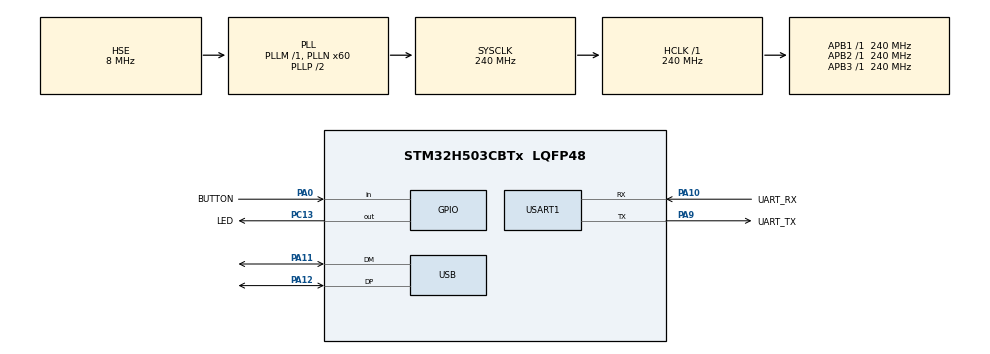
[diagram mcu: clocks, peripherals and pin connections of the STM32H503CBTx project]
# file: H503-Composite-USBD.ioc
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BOOTPATH.BootPathName=LEGACY
BOOTPATH.UserSelectedBootPath=LEGACY
CORTEX_M33_NS.AccessPermission-Cortex_Memory_Protection_Unit_Region0_Settings=MPU_REGION_PRIV_RO
CORTEX_M33_NS.AllocateAttribute-Cortex_Memory_Protection_Unit_Region0_Settings=MPU_R_ALLOCATE
CORTEX_M33_NS.AllocateAttribute-Cortex_Memory_Protection_Unit_Region1_Settings=MPU_RW_ALLOCATE
CORTEX_M33_NS.AttributesIndex-Cortex_Memory_Protection_Unit_Region1_Settings=MPU_ATTRIBUTES_NUMBER1
CORTEX_M33_NS.BaseAddress-Cortex_Memory_Protection_Unit_Region0_Settings=0x08000000
CORTEX_M33_NS.BaseAddress-Cortex_Memory_Protection_Unit_Region1_Settings=0x20000000
CORTEX_M33_NS.CacheableAttribute-Cortex_Memory_Protection_Unit_Region1_Settings=MPU_WRITE_BACK
CORTEX_M33_NS.Enable-Cortex_Memory_Protection_Unit_Region0_Settings=MPU_REGION_ENABLE
CORTEX_M33_NS.Enable-Cortex_Memory_Protection_Unit_Region1_Settings=MPU_REGION_ENABLE
CORTEX_M33_NS.LimitAddress-Cortex_Memory_Protection_Unit_Region0_Settings=0x0801FFFF
CORTEX_M33_NS.LimitAddress-Cortex_Memory_Protection_Unit_Region1_Settings=0x20007FFF
CORTEX_M33_NS.MPU_Control=__NULL
CORTEX_M33_NS.Number-Cortex_Memory_Protection_Unit_Region1_Settings=MPU_REGION_NUMBER1
Mcu.Family=STM32H5
Mcu.Name=STM32H503CBTx
Mcu.Package=LQFP48
NVIC.PriorityGroup=NVIC_PRIORITYGROUP_4
NVIC.USB_DRD_FS_IRQn=true\:0\:0\:false\:false\:true\:true\:true\:true
PA0.GPIO_Label=BUTTON
PA0.GPIO_PuPd=GPIO_PULLUP
PA0.Signal=GPIO_Input
PA10.GPIO_Label=UART_RX
PA10.GPIO_PuPd=GPIO_PULLUP
PA10.GPIO_Speed=GPIO_SPEED_FREQ_HIGH
PA10.Mode=Asynchronous
PA10.Signal=USART1_RX
PA11.Mode=Device
PA11.Signal=USB_DM
PA12.Mode=Device
PA12.Signal=USB_DP
PA13(JTMS/SWDIO).Mode=Serial_Wire
PA13(JTMS/SWDIO).Signal=DEBUG_JTMS-SWDIO
PA14(JTCK/SWCLK).Mode=Serial_Wire
PA14(JTCK/SWCLK).Signal=DEBUG_JTCK-SWCLK
PA9.GPIO_Label=UART_TX
PA9.GPIO_Speed=GPIO_SPEED_FREQ_HIGH
PA9.Mode=Asynchronous
PA9.Signal=USART1_TX
PC13.GPIO_Label=LED
PC13.GPIO_ModeDefaultOutputPP=GPIO_MODE_OUTPUT_OD
PC13.GPIO_PuPd=GPIO_NOPULL
PC13.Signal=GPIO_Output
PH0-OSC_IN(PH0).Mode=HSE-External-Oscillator
PH0-OSC_IN(PH0).Signal=RCC_OSC_IN
PH1-OSC_OUT(PH1).Mode=HSE-External-Oscillator
PH1-OSC_OUT(PH1).Signal=RCC_OSC_OUT
ProjectManager.HeapSize=0x0
ProjectManager.StackSize=0x400
ProjectManager.TargetToolchain=STM32CubeIDE
RCC.ADCFreq_Value=240000000
RCC.AHBFreq_Value=240000000
RCC.APB1Freq_Value=240000000
RCC.APB1TimFreq_Value=240000000
RCC.APB2Freq_Value=240000000
RCC.APB2TimFreq_Value=240000000
RCC.APB3Freq_Value=240000000
RCC.CSI_VALUE=4000000
RCC.CortexFreq_Value=240000000
RCC.EPOD_VALUE=8000000
RCC.HCLKFreq_Value=240000000
RCC.HSE_VALUE=8000000
RCC.HSI48_VALUE=48000000
RCC.HSI_VALUE=64000000
RCC.LSE_VALUE=32768
RCC.LSIRC_VALUE=32000
RCC.PLL1Q=10
RCC.PLLFRACN=0
RCC.PLLN=60
RCC.PLLSourceVirtual=RCC_PLL1_SOURCE_HSE
RCC.SYSCLKFreq_VALUE=240000000
RCC.SYSCLKSource=RCC_SYSCLKSOURCE_PLLCLK
RCC.USBFreq_Value=48000000
RCC.VCOOutputFreq_Value=480000000
USART1.VirtualMode-Asynchronous=VM_ASYNC
USB.VirtualMode=Device_Only
VP_BOOTPATH_VS_BOOTPATH.Mode=BP_Activate
VP_CORTEX_M33_NS_VS_Hclk.Mode=Hclk_Mode
VP_MEMORYMAP_VS_MEMORYMAP.Mode=CurAppReg
VP_PWR_VS_DBSignals.Mode=DisableDeadBatterySignals
VP_PWR_VS_LPOM.Mode=PowerOptimisation
VP_PWR_VS_SECSignals.Mode=Security/Privilege
board=custom

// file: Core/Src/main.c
/* USER CODE BEGIN Header */
/**
 ******************************************************************************
 * @file           : main.c
 * @brief          : Main program body
 ******************************************************************************
 * @attention
 *
 * Copyright (c) 2024 STMicroelectronics.
 * All rights reserved.
 *
 * This software is licensed under terms that can be found in the LICENSE file
 * in the root directory of this software component.
 * If no LICENSE file comes with this software, it is provided AS-IS.
 *
 ******************************************************************************
 */
/* USER CODE END Header */
#include "main.h"

/* USER CODE BEGIN Includes */

#include "usbd_core.h"
#include "usbd_cdc.h"
#include "usbd_cdc_if.h"
#include "usbd_hid.h"
#include "usbd_desc.h"
#include "usbd_composite_builder.h"

/* USER CODE END Includes */

UART_HandleTypeDef huart1;

PCD_HandleTypeDef hpcd_USB_DRD_FS;

/* USER CODE BEGIN PV */
uint8_t CDC_EpAdd_Inst[3] = { CDC_IN_EP, CDC_OUT_EP, CDC_CMD_EP }; /* CDC Endpoint Addresses array */
uint8_t HID_EpAdd_Inst = HID_EPIN_ADDR; /* HID Endpoint Address array */

USBD_HandleTypeDef hUsbDeviceFS;
uint8_t hid_report_buffer[4];
uint8_t HID_InstID = 0, CDC_InstID = 0;

/* USER CODE END PV */

void SystemClock_Config(void);
static void MX_GPIO_Init(void);
static void MX_USB_PCD_Init(void);
static void MX_USART1_UART_Init(void);
/* USER CODE BEGIN PFP */

void MX_USB_PCD_InitEx(void)
{
	MX_USB_PCD_Init();
}

/* USER CODE END PFP */

int main(void)
{

  /* MCU Configuration--------------------------------------------------------*/

  /* Reset of all peripherals, Initializes the Flash interface and the Systick. */
  HAL_Init();

  /* Configure the system clock */
  SystemClock_Config();

  /* Initialize all configured peripherals */
  MX_GPIO_Init();
  MX_USART1_UART_Init();
  /* USER CODE BEGIN 2 */

	/* Initialize the USB Device Library */
	if (USBD_Init(&hUsbDeviceFS, &Class_Desc, 0) != USBD_OK)
		Error_Handler();

	/* Store HID Instance Class ID */
	HID_InstID = hUsbDeviceFS.classId;

	/* Register the HID Class */
	if (USBD_RegisterClassComposite(&hUsbDeviceFS, USBD_HID_CLASS, CLASS_TYPE_HID, &HID_EpAdd_Inst) != USBD_OK)
		Error_Handler();

	/* Store the HID Class */
	CDC_InstID = hUsbDeviceFS.classId;

	/* Register CDC Class First Instance */
	if (USBD_RegisterClassComposite(&hUsbDeviceFS, USBD_CDC_CLASS, CLASS_TYPE_CDC, CDC_EpAdd_Inst) != USBD_OK)
		Error_Handler();

	/* Add CDC Interface Class */
	if (USBD_CMPSIT_SetClassID(&hUsbDeviceFS, CLASS_TYPE_CDC, 0) != 0xFF)
	{
		USBD_CDC_RegisterInterface(&hUsbDeviceFS, &USBD_CDC_Template_fops);
	}

	USBD_Start(&hUsbDeviceFS);

  /* USER CODE END 2 */

  /* Infinite loop */
  /* USER CODE BEGIN WHILE */

#define LED_TIMER_MS	2000
	uint32_t led_timer = 0;

	hid_report_buffer[0] = 0;
	hid_report_buffer[1] = 100;
	hid_report_buffer[2] = 0;
	hid_report_buffer[3] = 0;

	for (;;)
	{
		if ((HAL_GetTick() - led_timer) >= LED_TIMER_MS)
		{
			led_timer = HAL_GetTick();
			HAL_GPIO_TogglePin(LED_GPIO_Port, LED_Pin);

			// Send HID message
			// USBD_HID_SendReport(&hUsbDeviceFS, hid_report_buffer, 4, HID_InstID);
		}
		USBD_CDC_TransmitPacket(&hUsbDeviceFS, CDC_InstID);

    /* USER CODE END WHILE */

	}
}

void SystemClock_Config(void)
{
  RCC_OscInitTypeDef RCC_OscInitStruct = {0};
  RCC_ClkInitTypeDef RCC_ClkInitStruct = {0};

  /** Configure the main internal regulator output voltage
  */
  __HAL_PWR_VOLTAGESCALING_CONFIG(PWR_REGULATOR_VOLTAGE_SCALE0);

  while(!__HAL_PWR_GET_FLAG(PWR_FLAG_VOSRDY)) {}

  /** Initializes the RCC Oscillators according to the specified parameters
  * in the RCC_OscInitTypeDef structure.
  */
  RCC_OscInitStruct.OscillatorType = RCC_OSCILLATORTYPE_HSI48|RCC_OSCILLATORTYPE_HSE;
  RCC_OscInitStruct.HSEState = RCC_HSE_ON;
  RCC_OscInitStruct.HSI48State = RCC_HSI48_ON;
  RCC_OscInitStruct.PLL.PLLState = RCC_PLL_ON;
  RCC_OscInitStruct.PLL.PLLSource = RCC_PLL1_SOURCE_HSE;
  RCC_OscInitStruct.PLL.PLLM = 1;
  RCC_OscInitStruct.PLL.PLLN = 60;
  RCC_OscInitStruct.PLL.PLLP = 2;
  RCC_OscInitStruct.PLL.PLLQ = 10;
  RCC_OscInitStruct.PLL.PLLR = 2;
  RCC_OscInitStruct.PLL.PLLRGE = RCC_PLL1_VCIRANGE_3;
  RCC_OscInitStruct.PLL.PLLVCOSEL = RCC_PLL1_VCORANGE_WIDE;
  RCC_OscInitStruct.PLL.PLLFRACN = 0;
  if (HAL_RCC_OscConfig(&RCC_OscInitStruct) != HAL_OK)
  {
    Error_Handler();
  }

  /** Initializes the CPU, AHB and APB buses clocks
  */
  RCC_ClkInitStruct.ClockType = RCC_CLOCKTYPE_HCLK|RCC_CLOCKTYPE_SYSCLK
                              |RCC_CLOCKTYPE_PCLK1|RCC_CLOCKTYPE_PCLK2
                              |RCC_CLOCKTYPE_PCLK3;
  RCC_ClkInitStruct.SYSCLKSource = RCC_SYSCLKSOURCE_PLLCLK;
  RCC_ClkInitStruct.AHBCLKDivider = RCC_SYSCLK_DIV1;
  RCC_ClkInitStruct.APB1CLKDivider = RCC_HCLK_DIV1;
  RCC_ClkInitStruct.APB2CLKDivider = RCC_HCLK_DIV1;
  RCC_ClkInitStruct.APB3CLKDivider = RCC_HCLK_DIV1;

  if (HAL_RCC_ClockConfig(&RCC_ClkInitStruct, FLASH_LATENCY_5) != HAL_OK)
  {
    Error_Handler();
  }

  /** Configure the programming delay
  */
  __HAL_FLASH_SET_PROGRAM_DELAY(FLASH_PROGRAMMING_DELAY_2);
}

static void MX_USART1_UART_Init(void)
{

  huart1.Instance = USART1;
  huart1.Init.BaudRate = 115200;
  huart1.Init.WordLength = UART_WORDLENGTH_8B;
  huart1.Init.StopBits = UART_STOPBITS_1;
  huart1.Init.Parity = UART_PARITY_NONE;
  huart1.Init.Mode = UART_MODE_TX_RX;
  huart1.Init.HwFlowCtl = UART_HWCONTROL_NONE;
  huart1.Init.OverSampling = UART_OVERSAMPLING_16;
  huart1.Init.OneBitSampling = UART_ONE_BIT_SAMPLE_DISABLE;
  huart1.Init.ClockPrescaler = UART_PRESCALER_DIV1;
  huart1.AdvancedInit.AdvFeatureInit = UART_ADVFEATURE_NO_INIT;
  if (HAL_UART_Init(&huart1) != HAL_OK)
  {
    Error_Handler();
  }
  if (HAL_UARTEx_SetTxFifoThreshold(&huart1, UART_TXFIFO_THRESHOLD_1_8) != HAL_OK)
  {
    Error_Handler();
  }
  if (HAL_UARTEx_SetRxFifoThreshold(&huart1, UART_RXFIFO_THRESHOLD_1_8) != HAL_OK)
  {
    Error_Handler();
  }
  if (HAL_UARTEx_DisableFifoMode(&huart1) != HAL_OK)
  {
    Error_Handler();
  }

}

static void MX_USB_PCD_Init(void)
{

  hpcd_USB_DRD_FS.Instance = USB_DRD_FS;
  hpcd_USB_DRD_FS.Init.dev_endpoints = 8;
  hpcd_USB_DRD_FS.Init.speed = USBD_FS_SPEED;
  hpcd_USB_DRD_FS.Init.phy_itface = PCD_PHY_EMBEDDED;
  hpcd_USB_DRD_FS.Init.Sof_enable = DISABLE;
  hpcd_USB_DRD_FS.Init.low_power_enable = DISABLE;
  hpcd_USB_DRD_FS.Init.lpm_enable = DISABLE;
  hpcd_USB_DRD_FS.Init.battery_charging_enable = DISABLE;
  hpcd_USB_DRD_FS.Init.vbus_sensing_enable = DISABLE;
  hpcd_USB_DRD_FS.Init.bulk_doublebuffer_enable = DISABLE;
  hpcd_USB_DRD_FS.Init.iso_singlebuffer_enable = DISABLE;
  if (HAL_PCD_Init(&hpcd_USB_DRD_FS) != HAL_OK)
  {
    Error_Handler();
  }

}

static void MX_GPIO_Init(void)
{
  GPIO_InitTypeDef GPIO_InitStruct = {0};

  /* GPIO Ports Clock Enable */
  __HAL_RCC_GPIOC_CLK_ENABLE();
  __HAL_RCC_GPIOH_CLK_ENABLE();
  __HAL_RCC_GPIOA_CLK_ENABLE();

  /*Configure GPIO pin Output Level */
  HAL_GPIO_WritePin(LED_GPIO_Port, LED_Pin, GPIO_PIN_RESET);

  /*Configure GPIO pin : LED_Pin */
  GPIO_InitStruct.Pin = LED_Pin;
  GPIO_InitStruct.Mode = GPIO_MODE_OUTPUT_OD;
  GPIO_InitStruct.Pull = GPIO_NOPULL;
  GPIO_InitStruct.Speed = GPIO_SPEED_FREQ_LOW;
  HAL_GPIO_Init(LED_GPIO_Port, &GPIO_InitStruct);

  /*Configure GPIO pin : BUTTON_Pin */
  GPIO_InitStruct.Pin = BUTTON_Pin;
  GPIO_InitStruct.Mode = GPIO_MODE_INPUT;
  GPIO_InitStruct.Pull = GPIO_PULLUP;
  HAL_GPIO_Init(BUTTON_GPIO_Port, &GPIO_InitStruct);

}

void Error_Handler(void)
{
	__disable_irq();
	while (1)
	{
	}
}
